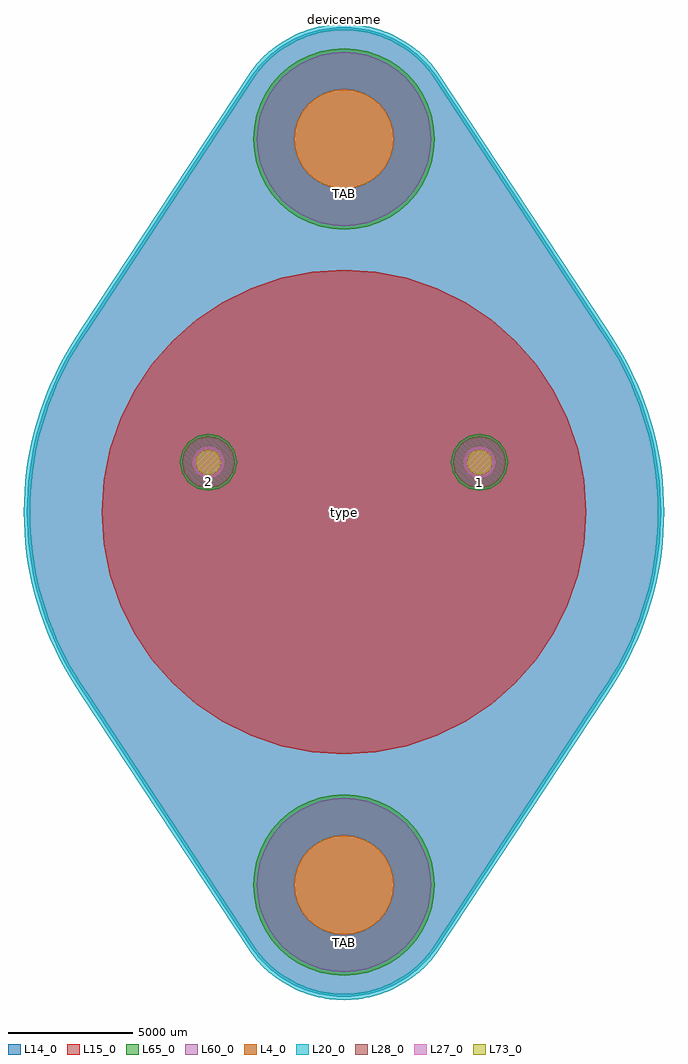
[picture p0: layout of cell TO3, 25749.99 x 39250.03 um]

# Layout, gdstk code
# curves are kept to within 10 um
import gdstk
lib = gdstk.Library(unit=1e-6, precision=1e-09)
def P(c, l, *ps):  # polygons
    for p in ps: c.add(gdstk.Polygon(p, *l))
L4_0 = (4, 0)
L14_0 = (14, 0)
L15_0 = (15, 0)
L20_0 = (20, 0)
L27_0 = (27, 0)
L28_0 = (28, 0)
L60_0 = (60, 0)
L65_0 = (65, 0)
L73_0 = (73, 0)

to3 = lib.new_cell('TO3')
P(to3, L4_0, [(2000,30000),(1961.571,30390.181),(1847.759,30765.367),(1662.939,31111.14),(1414.214,31414.214),(1111.14,31662.939),(765.367,31847.759),(390.181,31961.571),(0,32000),(-390.181,31961.571),(-765.367,31847.759),(-1111.14,31662.939),(-1414.214,31414.214),(-1662.939,31111.14),(-1847.759,30765.367),(-1961.571,30390.181),(-2000,30000),(-1961.571,29609.819),(-1847.759,29234.633),(-1662.939,28888.86),(-1414.214,28585.786),(-1111.14,28337.061),(-765.367,28152.241),(-390.181,28038.429),(0,28000),(390.181,28038.429),(765.367,28152.241),(1111.14,28337.061),(1414.214,28585.786),(1662.939,28888.86),(1847.759,29234.633),(1961.571,29609.819)],
  [(2000,0),(1961.571,390.181),(1847.759,765.367),(1662.939,1111.14),(1414.214,1414.214),(1111.14,1662.939),(765.367,1847.759),(390.181,1961.571),(0,2000),(-390.181,1961.571),(-765.367,1847.759),(-1111.14,1662.939),(-1414.214,1414.214),(-1662.939,1111.14),(-1847.759,765.367),(-1961.571,390.181),(-2000,0),(-1961.571,-390.181),(-1847.759,-765.367),(-1662.939,-1111.14),(-1414.214,-1414.214),(-1111.14,-1662.939),(-765.367,-1847.759),(-390.181,-1961.571),(0,-2000),(390.181,-1961.571),(765.367,-1847.759),(1111.14,-1662.939),(1414.214,-1414.214),(1662.939,-1111.14),(1847.759,-765.367),(1961.571,-390.181)])
P(to3, L14_0, [(0,32000),(390.181,31961.571),(765.367,31847.759),(1111.14,31662.939),(1414.214,31414.214),(1662.939,31111.14),(1847.759,30765.367),(1961.571,30390.181),(2000,30000),(1961.571,29609.819),(1847.759,29234.633),(1662.939,28888.86),(1414.214,28585.786),(1111.14,28337.061),(765.367,28152.241),(390.181,28038.429),(0,28000),(0,2000),(390.181,1961.571),(765.367,1847.759),(1111.14,1662.939),(1414.214,1414.214),(1662.939,1111.14),(1847.759,765.367),(1961.571,390.181),(2000,0),(1961.571,-390.181),(1847.759,-765.367),(1662.939,-1111.14),(1414.214,-1414.214),(1111.14,-1662.939),(765.367,-1847.759),(390.181,-1961.571),(0,-2000),(-390.181,-1961.571),(-765.367,-1847.759),(-1111.14,-1662.939),(-1414.214,-1414.214),(-1662.939,-1111.14),(-1847.759,-765.367),(-1961.571,-390.181),(-2000,0),(-1961.571,390.181),(-1847.759,765.367),(-1662.939,1111.14),(-1414.214,1414.214),(-1111.14,1662.939),(-765.367,1847.759),(-390.181,1961.571),(0,2000),(0,28000),(-390.181,28038.429),(-765.367,28152.241),(-1111.14,28337.061),(-1414.214,28585.786),(-1662.939,28888.86),(-1847.759,29234.633),(-1961.571,29609.819),(-2000,30000),(-1961.571,30390.181),(-1847.759,30765.367),(-1662.939,31111.14),(-1414.214,31414.214),(-1111.14,31662.939),(-765.367,31847.759),(-390.181,31961.571),(0,32000),(0,34500.001),(-432.105,34479.207),(-718.201,34442.319),(-1141.447,34352.828),(-1554.144,34223.109),(-2081.423,33989.698),(-2574.526,33690.776),(-2917.029,33426.509),(-3331.252,33025.356),(-3690.776,32574.526),(-5450,29901.784),(-5450,17650),(-5201.256,17600.522),(-4990.381,17459.619),(-4849.478,17248.744),(-4800,17000),(-4849.478,16751.256),(-4990.381,16540.381),(-5201.256,16399.478),(-5450,16350),(-5698.744,16399.478),(-5909.619,16540.381),(-6050.522,16751.256),(-6100,17000),(-6050.522,17248.744),(-5909.619,17459.619),(-5698.744,17600.522),(-5450,17650),(-5450,29901.784),(-10685.622,21955.57),(-11109.312,21256.649),(-11487.352,20532.018),(-11818.189,19784.654),(-12100.461,19017.63),(-12333.01,18234.096),(-12430.331,17837.142),(-12586.567,17034.899),(-12691.083,16224.294),(-12723.803,15816.895),(-12749.999,15000),(-12723.803,14183.105),(-12645.322,13369.566),(-12586.567,12965.101),(-12430.331,12162.858),(-12223.015,11372.273),(-12100.461,10982.37),(-11818.189,10215.346),(-11487.352,9467.982),(-11109.312,8743.351),(-10685.622,8044.43),(-3690.776,-2574.526),(-3426.508,-2917.029),(-3025.355,-3331.253),(-2691.498,-3606.362),(-2454.908,-3771.397),(-2081.423,-3989.698),(-1821.526,-4114.858),(-1417.988,-4270.752),(-1001.345,-4387.177),(-432.105,-4479.207),(-0.001,-4500.001),(432.103,-4479.207),(1001.343,-4387.177),(1554.142,-4223.109),(1952.476,-4054.361),(2454.906,-3771.397),(2805.703,-3518.243),(3130.57,-3232.573),(3426.506,-2917.028),(3690.774,-2574.525),(10685.618,8044.432),(11109.308,8743.353),(11487.348,9467.984),(11658.756,9839.014),(11965.467,10596.598),(12223.01,11372.275),(12430.326,12162.86),(12586.562,12965.103),(12691.078,13775.708),(12723.798,14183.107),(12750,15000),(12723.798,15816.893),(12645.317,16630.432),(12586.562,17034.897),(12430.326,17837.14),(12333.005,18234.094),(12100.456,19017.628),(11818.184,19784.652),(11487.348,20532.016),(11109.308,21256.647),(10685.618,21955.568),(5450,29901.779),(5450,17650),(5698.744,17600.522),(5909.619,17459.619),(6050.522,17248.744),(6100,17000),(6050.522,16751.256),(5909.619,16540.381),(5698.744,16399.478),(5450,16350),(5201.256,16399.478),(4990.381,16540.381),(4849.478,16751.256),(4800,17000),(4849.478,17248.744),(4990.381,17459.619),(5201.256,17600.522),(5450,17650),(5450,29901.779),(3690.774,32574.525),(3331.25,33025.355),(2917.027,33426.508),(2574.524,33690.776),(2081.421,33989.698),(1554.142,34223.109),(1141.445,34352.828),(718.199,34442.319),(432.103,34479.207),(0,34500.001)])
P(to3, L15_0, [(9750,15000),(9666.587,16272.63),(9417.777,17523.486),(9007.825,18731.163),(8443.748,19875),(7735.195,20935.424),(6894.291,21894.291),(5935.424,22735.195),(4875,23443.748),(3731.163,24007.825),(2523.486,24417.777),(1272.63,24666.587),(0,24750),(-1272.63,24666.587),(-2523.486,24417.777),(-3731.163,24007.825),(-4875,23443.748),(-5935.424,22735.195),(-6894.291,21894.291),(-7735.195,20935.424),(-8443.748,19875),(-9007.825,18731.163),(-9417.777,17523.486),(-9666.587,16272.63),(-9750,15000),(-9666.587,13727.37),(-9417.777,12476.514),(-9007.825,11268.837),(-8443.748,10125),(-7735.195,9064.576),(-6894.291,8105.709),(-5935.424,7264.805),(-4875,6556.252),(-3731.163,5992.175),(-2523.486,5582.223),(-1272.63,5333.413),(0,5250),(1272.63,5333.413),(2523.486,5582.223),(3731.163,5992.175),(4875,6556.252),(5935.424,7264.805),(6894.291,8105.709),(7735.195,9064.576),(8443.748,10125),(9007.825,11268.837),(9417.777,12476.514),(9666.587,13727.37)])
P(to3, L27_0, [(4800,17000),(4849.478,16751.256),(4990.381,16540.381),(5201.256,16399.478),(5450,16350),(5698.744,16399.478),(5909.619,16540.381),(6050.522,16751.256),(6100,17000),(6050.522,17248.744),(5909.619,17459.619),(5698.744,17600.522),(5450,17650),(5201.256,17600.522),(4990.381,17459.619),(4849.478,17248.744)],
  [(-6100,17000),(-6050.522,16751.256),(-5909.619,16540.381),(-5698.744,16399.478),(-5450,16350),(-5201.256,16399.478),(-4990.381,16540.381),(-4849.478,16751.256),(-4800,17000),(-4849.478,17248.744),(-4990.381,17459.619),(-5201.256,17600.522),(-5450,17650),(-5698.744,17600.522),(-5909.619,17459.619),(-6050.522,17248.744)])
P(to3, L28_0, [(5450,18050),(5048.182,17970.074),(4707.538,17742.462),(4479.926,17401.818),(4400,17000),(4479.926,16598.182),(4707.538,16257.538),(5048.182,16029.926),(5450,15950),(5851.818,16029.926),(6192.462,16257.538),(6420.074,16598.182),(6500,17000),(6420.074,17401.818),(6192.462,17742.462),(5851.818,17970.074)],
  [(-5450,18050),(-5851.818,17970.074),(-6192.462,17742.462),(-6420.074,17401.818),(-6500,17000),(-6420.074,16598.182),(-6192.462,16257.538),(-5851.818,16029.926),(-5450,15950),(-5048.182,16029.926),(-4707.538,16257.538),(-4479.926,16598.182),(-4400,17000),(-4479.926,17401.818),(-4707.538,17742.462),(-5048.182,17970.074)])
P(to3, L60_0, [(0,3500),(-456.842,3470.057),(-905.867,3380.74),(-1339.392,3233.578),(-1750,3031.089),(-2130.665,2776.737),(-2474.874,2474.874),(-2776.737,2130.665),(-3031.089,1750),(-3233.578,1339.392),(-3380.74,905.867),(-3470.057,456.842),(-3500,0),(-3470.057,-456.842),(-3380.74,-905.867),(-3233.578,-1339.392),(-3031.089,-1750),(-2776.737,-2130.665),(-2474.874,-2474.874),(-2130.665,-2776.737),(-1750,-3031.089),(-1339.392,-3233.578),(-905.867,-3380.74),(-456.842,-3470.057),(0,-3500),(456.842,-3470.057),(905.867,-3380.74),(1339.392,-3233.578),(1750,-3031.089),(2130.665,-2776.737),(2474.874,-2474.874),(2776.737,-2130.665),(3031.089,-1750),(3233.578,-1339.392),(3380.74,-905.867),(3470.057,-456.842),(3500,0),(3470.057,456.842),(3380.74,905.867),(3233.578,1339.392),(3031.089,1750),(2776.737,2130.665),(2474.874,2474.874),(2130.665,2776.737),(1750,3031.089),(1339.392,3233.578),(905.867,3380.74),(456.842,3470.057)],
  [(5450,18050),(5048.182,17970.074),(4707.538,17742.462),(4479.926,17401.818),(4400,17000),(4479.926,16598.182),(4707.538,16257.538),(5048.182,16029.926),(5450,15950),(5851.818,16029.926),(6192.462,16257.538),(6420.074,16598.182),(6500,17000),(6420.074,17401.818),(6192.462,17742.462),(5851.818,17970.074)],
  [(-5450,18050),(-5851.818,17970.074),(-6192.462,17742.462),(-6420.074,17401.818),(-6500,17000),(-6420.074,16598.182),(-6192.462,16257.538),(-5851.818,16029.926),(-5450,15950),(-5048.182,16029.926),(-4707.538,16257.538),(-4479.926,16598.182),(-4400,17000),(-4479.926,17401.818),(-4707.538,17742.462),(-5048.182,17970.074)],
  [(0,33500),(-456.842,33470.057),(-905.867,33380.74),(-1339.392,33233.578),(-1750,33031.089),(-2130.665,32776.737),(-2474.874,32474.874),(-2776.737,32130.665),(-3031.089,31750),(-3233.578,31339.392),(-3380.74,30905.867),(-3470.057,30456.842),(-3500,30000),(-3470.057,29543.158),(-3380.74,29094.133),(-3233.578,28660.608),(-3031.089,28250),(-2776.737,27869.335),(-2474.874,27525.126),(-2130.665,27223.263),(-1750,26968.911),(-1339.392,26766.422),(-905.867,26619.26),(-456.842,26529.943),(0,26500),(456.842,26529.943),(905.867,26619.26),(1339.392,26766.422),(1750,26968.911),(2130.665,27223.263),(2474.874,27525.126),(2776.737,27869.335),(3031.089,28250),(3233.578,28660.608),(3380.74,29094.133),(3470.057,29543.158),(3500,30000),(3470.057,30456.842),(3380.74,30905.867),(3233.578,31339.392),(3031.089,31750),(2776.737,32130.665),(2474.874,32474.874),(2130.665,32776.737),(1750,33031.089),(1339.392,33233.578),(905.867,33380.74),(456.842,33470.057)])
P(to3, L65_0, [(3618.881,-476.432),(3650.107,-0.005),(3618.881,476.432),(3525.733,944.716),(3372.257,1396.84),(3161.088,1825.048),(2895.822,2222.047),(2581.015,2581.015),(2222.047,2895.822),(1825.048,3161.088),(1396.839,3372.257),(944.715,3525.733),(476.433,3618.881),(0,3650.107),(-476.433,3618.881),(-944.715,3525.733),(-1396.839,3372.257),(-1825.048,3161.088),(-2222.047,2895.822),(-2581.015,2581.015),(-2895.822,2222.047),(-3161.088,1825.048),(-3372.257,1396.84),(-3525.733,944.716),(-3618.881,476.432),(-3650.107,0.005),(-3618.881,-476.432),(-3525.733,-944.716),(-3372.257,-1396.84),(-3161.088,-1825.048),(-2895.822,-2222.047),(-2581.015,-2581.015),(-2222.047,-2895.822),(-1825.048,-3161.088),(-1396.839,-3372.257),(-944.715,-3525.733),(-476.433,-3618.881),(0,-3650.107),(476.433,-3618.881),(944.715,-3525.733),(1396.839,-3372.257),(1825.048,-3161.088),(2222.047,-2895.822),(2581.015,-2581.015),(2895.822,-2222.047),(3161.088,-1825.048),(3372.257,-1396.84),(3525.733,-944.716)],
  [(6513.366,16559.539),(6600.979,16999.998),(6513.366,17440.461),(6263.865,17813.865),(5890.461,18063.366),(5450,18150.979),(5009.539,18063.366),(4636.135,17813.865),(4386.634,17440.461),(4299.021,17000.002),(4386.634,16559.539),(4636.135,16186.135),(5009.539,15936.634),(5450,15849.021),(5890.461,15936.634),(6263.865,16186.135)],
  [(-4386.634,16559.539),(-4299.021,16999.998),(-4386.634,17440.461),(-4636.135,17813.865),(-5009.539,18063.366),(-5450,18150.979),(-5890.461,18063.366),(-6263.865,17813.865),(-6513.366,17440.461),(-6600.979,17000.002),(-6513.366,16559.539),(-6263.865,16186.135),(-5890.461,15936.634),(-5450,15849.021),(-5009.539,15936.634),(-4636.135,16186.135)],
  [(3618.881,29523.568),(3650.107,29999.995),(3618.881,30476.432),(3525.733,30944.716),(3372.257,31396.84),(3161.088,31825.048),(2895.822,32222.047),(2581.015,32581.015),(2222.047,32895.822),(1825.048,33161.088),(1396.839,33372.257),(944.715,33525.733),(476.433,33618.881),(0,33650.107),(-476.433,33618.881),(-944.715,33525.733),(-1396.839,33372.257),(-1825.048,33161.088),(-2222.047,32895.822),(-2581.015,32581.015),(-2895.822,32222.047),(-3161.088,31825.048),(-3372.257,31396.84),(-3525.733,30944.716),(-3618.881,30476.432),(-3650.107,30000.005),(-3618.881,29523.568),(-3525.733,29055.284),(-3372.257,28603.16),(-3161.088,28174.952),(-2895.822,27777.953),(-2581.015,27418.985),(-2222.047,27104.178),(-1825.048,26838.912),(-1396.839,26627.743),(-944.715,26474.267),(-476.433,26381.119),(0,26349.893),(476.433,26381.119),(944.715,26474.267),(1396.839,26627.743),(1825.048,26838.912),(2222.047,27104.178),(2581.015,27418.985),(2895.822,27777.953),(3161.088,28174.952),(3372.257,28603.16),(3525.733,29055.284)])
P(to3, L73_0, [(-5950,17000),(-5911.94,16808.658),(-5803.553,16646.447),(-5641.342,16538.06),(-5450,16500),(-5258.658,16538.06),(-5096.447,16646.447),(-4988.06,16808.658),(-4950,17000),(-4988.06,17191.342),(-5096.447,17353.553),(-5258.658,17461.94),(-5450,17500),(-5641.342,17461.94),(-5803.553,17353.553),(-5911.94,17191.342)],
  [(4950,17000),(4988.06,16808.658),(5096.447,16646.447),(5258.658,16538.06),(5450,16500),(5641.342,16538.06),(5803.553,16646.447),(5911.94,16808.658),(5950,17000),(5911.94,17191.342),(5803.553,17353.553),(5641.342,17461.94),(5450,17500),(5258.658,17461.94),(5096.447,17353.553),(4988.06,17191.342)])
to3.add(gdstk.FlexPath([(12749.994,14999.998),(12743.443,15408.656),(12723.798,15816.893),(12691.078,16224.292),(12645.317,16630.432),(12586.562,17034.897),(12514.873,17437.271),(12430.326,17837.14),(12333.005,18234.094),(12223.01,18627.725),(12100.456,19017.628),(11965.467,19403.402),(11818.184,19784.652),(11658.756,20160.986),(11487.348,20532.016),(11304.136,20897.361),(11109.308,21256.647),(10903.065,21609.503),(10685.618,21955.568),(10457.191,22294.485),(3690.774,32574.525),(3606.36,32691.497),(3518.241,32805.704),(3426.506,32917.028),(3331.25,33025.355),(3232.571,33130.572),(3130.57,33232.573),(3025.353,33331.252),(2917.027,33426.508),(2805.703,33518.243),(2691.496,33606.362),(2574.524,33690.776),(2454.906,33771.397),(2081.421,33989.698),(1952.476,34054.361),(1821.524,34114.858),(1688.701,34171.126),(1554.142,34223.109),(1417.986,34270.752),(1280.373,34314.006),(1141.445,34352.828),(1001.343,34387.177),(860.213,34417.017),(718.199,34442.319),(575.446,34463.056),(432.103,34479.207),(288.315,34490.755),(144.231,34497.689),(-0.001,34500.001),(-144.233,34497.689),(-288.317,34490.755),(-432.105,34479.207),(-575.448,34463.056),(-718.201,34442.319),(-860.215,34417.017),(-1001.345,34387.177),(-1141.447,34352.828),(-1280.375,34314.006),(-1417.988,34270.752),(-1554.144,34223.109),(-1688.703,34171.126),(-1821.526,34114.858),(-1952.478,34054.361),(-2081.423,33989.698),(-2454.908,33771.397),(-2574.526,33690.776),(-2691.498,33606.362),(-2805.705,33518.243),(-2917.029,33426.509),(-3025.355,33331.253),(-3130.572,33232.574),(-3232.573,33130.573),(-3331.252,33025.356),(-3426.508,32917.029),(-3518.243,32805.705),(-3606.362,32691.498),(-3690.776,32574.526),(-10457.195,22294.487),(-10685.622,21955.57),(-10903.069,21609.505),(-11109.312,21256.649),(-11304.14,20897.363),(-11487.352,20532.018),(-11658.76,20160.988),(-11818.189,19784.654),(-11965.472,19403.404),(-12100.461,19017.63),(-12223.015,18627.727),(-12333.01,18234.096),(-12430.331,17837.142),(-12514.878,17437.273),(-12586.567,17034.899),(-12645.322,16630.434),(-12691.083,16224.294),(-12723.803,15816.895),(-12743.448,15408.658),(-12749.999,15000),(-12743.448,14591.342),(-12723.803,14183.105),(-12691.083,13775.706),(-12645.322,13369.566),(-12586.567,12965.101),(-12514.878,12562.727),(-12430.331,12162.858),(-12333.01,11765.904),(-12223.015,11372.273),(-12100.461,10982.37),(-11965.472,10596.596),(-11818.189,10215.346),(-11658.76,9839.012),(-11487.352,9467.982),(-11304.14,9102.637),(-11109.312,8743.351),(-10903.069,8390.495),(-10685.622,8044.43),(-10457.195,7705.513),(-3690.776,-2574.526),(-3606.362,-2691.498),(-3518.243,-2805.705),(-3426.508,-2917.029),(-3331.252,-3025.356),(-3232.573,-3130.573),(-3130.572,-3232.574),(-3025.355,-3331.253),(-2917.029,-3426.509),(-2805.705,-3518.243),(-2691.498,-3606.362),(-2574.526,-3690.776),(-2454.908,-3771.397),(-2081.423,-3989.698),(-1952.478,-4054.361),(-1821.526,-4114.858),(-1688.703,-4171.126),(-1554.144,-4223.109),(-1417.988,-4270.752),(-1280.375,-4314.006),(-1141.447,-4352.828),(-1001.345,-4387.177),(-860.215,-4417.017),(-718.201,-4442.319),(-575.448,-4463.056),(-432.105,-4479.207),(-288.317,-4490.755),(-144.233,-4497.689),(-0.001,-4500.001),(144.231,-4497.689),(288.315,-4490.755),(432.103,-4479.207),(575.446,-4463.056),(718.199,-4442.319),(860.213,-4417.017),(1001.343,-4387.177),(1141.445,-4352.828),(1280.373,-4314.006),(1417.986,-4270.752),(1554.142,-4223.109),(1688.701,-4171.126),(1821.524,-4114.858),(1952.476,-4054.361),(2081.421,-3989.698),(2454.906,-3771.397),(2574.524,-3690.776),(2691.496,-3606.362),(2805.703,-3518.243),(2917.027,-3426.508),(3025.353,-3331.252),(3130.57,-3232.573),(3232.571,-3130.572),(3331.25,-3025.355),(3426.506,-2917.028),(3518.241,-2805.704),(3606.36,-2691.497),(3690.774,-2574.525),(10457.191,7705.515),(10685.618,8044.432),(10903.065,8390.497),(11109.308,8743.353),(11304.136,9102.639),(11487.348,9467.984),(11658.756,9839.014),(11818.184,10215.348),(11965.467,10596.598),(12100.456,10982.372),(12223.01,11372.275),(12333.005,11765.906),(12430.326,12162.86),(12514.873,12562.729),(12586.562,12965.103),(12645.317,13369.568),(12691.078,13775.708),(12723.798,14183.107),(12743.443,14591.344),(12749.994,15000.002)], 250, ends="flush", simple_path=True, layer=20, datatype=0))  # L20_0
to3.add(gdstk.Label('TAB', (0,27800), layer=60, texttype=0))
to3.add(gdstk.Label('2', (-5440,16240), layer=60, texttype=0))
to3.add(gdstk.Label('1', (5450,16200), layer=60, texttype=0))
to3.add(gdstk.Label('devicename', (0,34800), layer=20, texttype=0))
to3.add(gdstk.Label('type', (0,15000), layer=11, texttype=0))
to3.add(gdstk.Label('TAB', (0,-2300), layer=60, texttype=0))

lib.write_gds('TO3.gds')
